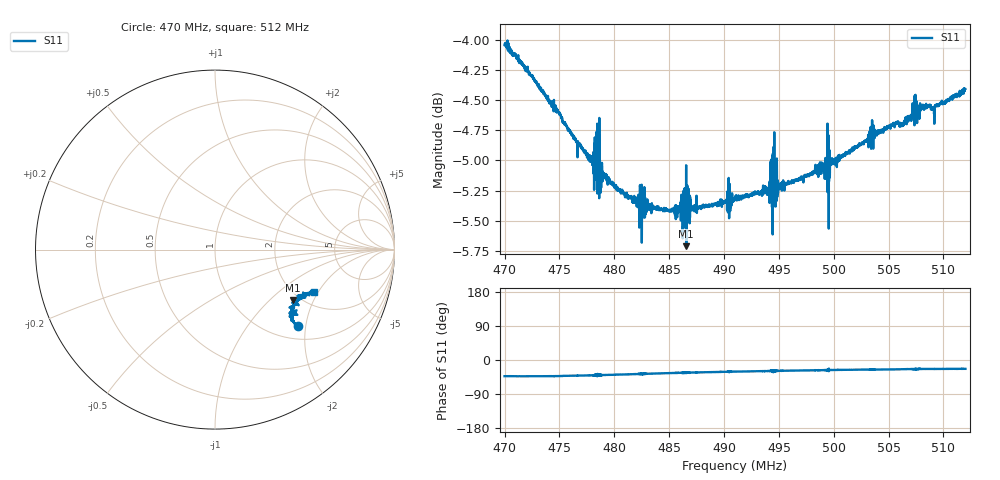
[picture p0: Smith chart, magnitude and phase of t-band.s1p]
! Calibrated averaged scanner-service zoom
# Hz S RI R 50
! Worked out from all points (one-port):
!   4001 points, 470 MHz to 512 MHz, reference 50 ohm
!   lowest |S11| = -5.7 dB at 486.6 MHz (marker M1), VSWR 3.15, Z = 92.1 - j70.6 ohm
!   |S11| at or under -10 dB: nowhere
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4.7e8  0.461 -0.4259
4.71911e8  0.4487 -0.4172
4.74683e8  0.436 -0.3989
4.7525e8  0.433 -0.3942
4.779485e8  0.4288 -0.3639
4.783895e8  0.4236 -0.3671
4.7882e8  0.4289 -0.3577
4.805e8  0.4283 -0.339
4.824845e8  0.4374 -0.3325
4.826945e8  0.4316 -0.3119
4.8575e8  0.4431 -0.3005
4.86338e8  0.4439 -0.2921
4.865585e8  0.4358 -0.2803
4.91e8  0.4658 -0.2767
4.940135e8  0.4771 -0.2666
4.943705e8  0.4656 -0.2693
4.94801e8  0.4747 -0.2596
4.9625e8  0.4866 -0.2583
4.991165e8  0.4989 -0.2511
4.99337e8  0.4989 -0.2542
4.997675e8  0.5023 -0.2494
5.015e8  0.5111 -0.246
5.056265e8  0.5291 -0.2449
5.0675e8  0.535 -0.2405
5.073695e8  0.5371 -0.2413
5.080415e8  0.5422 -0.2361
5.090705e8  0.5416 -0.237
5.12e8  0.5527 -0.2385
